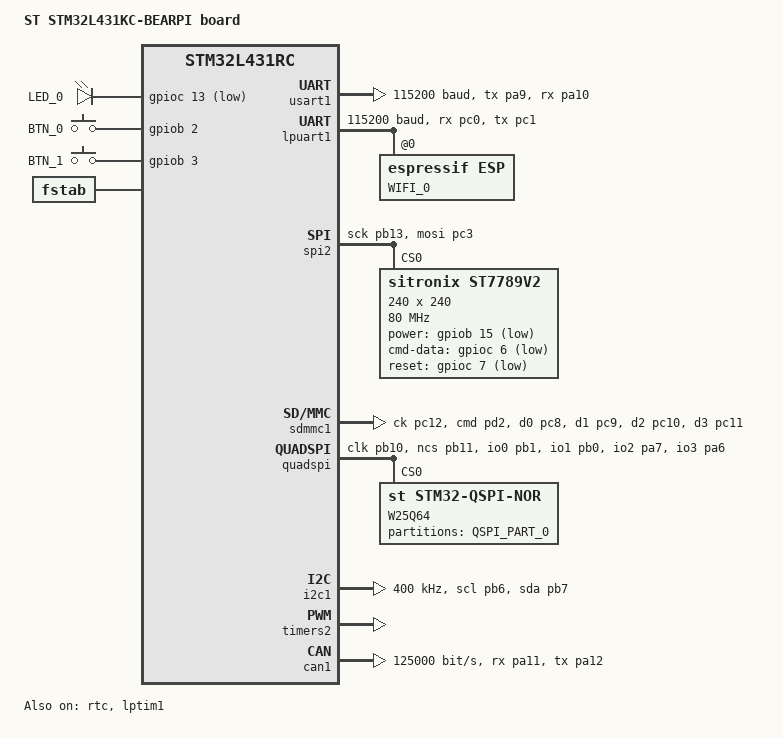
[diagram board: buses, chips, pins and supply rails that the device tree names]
/*
 * Copyright (c) 2017 Linaro Limited
 *
 * SPDX-License-Identifier: Apache-2.0
 */

/dts-v1/;
#include <st/l4/stm32l431Rc.dtsi>
#include <st/l4/stm32l431r(b-c)tx-pinctrl.dtsi>

/ {
	model = "ST STM32L431KC-BEARPI board";
	compatible = "st,stm32l431rc-bearpi";

	chosen {
		zephyr,console = &usart1;
		zephyr,shell-uart = &usart1;
		zephyr,sram = &sram0;
		zephyr,flash = &flash0;
		zephyr,can-primary = &can1;
	};

	leds {
		compatible = "gpio-leds";
		blue_led: led_0 {
			gpios = <&gpioc 13 GPIO_ACTIVE_LOW>;
			status = "okay";
			label = "LED_0";
		};
	};
	
	buttons {
		compatible = "gpio-keys";
		key0: key_0 {
			gpios = <&gpiob 2 GPIO_ACTIVE_HIGH>;
			status = "okay";
			label = "BTN_0";
		};
		key1: key_1 {
			gpios = <&gpiob 3 GPIO_ACTIVE_HIGH>;
			status = "okay";
			label = "BTN_1";
		};
	};
	
	fstab { 
                compatible = "zephyr,fstab";
                lfs0: littlefs {
                        compatible = "zephyr,fstab,littlefs";
                        mount-point = "/qspi";
                        partition = <&qspi_part0>;
                        automount;
                        read-size = <16>;
                        prog-size = <16>;
                        cache-size = <64>;
                        lookahead-size = <32>;
                        block-cycles = <512>;
                };
        };

	aliases {
		led0 = &blue_led;
		btn0 = &key0;
		btn1 = &key1;
	};
};

&dma1 {
	status = "okay";
};

&usart1 {
	pinctrl-0 = <&usart1_tx_pa9 &usart1_rx_pa10>;
	current-speed = <115200>;
	status = "okay";
};

&lpuart1 {
	pinctrl-0 = <&lpuart1_rx_pc0 &lpuart1_tx_pc1>;
	current-speed = <115200>;
	parity = <0>;
	status = "okay";
	wifi0: wifi@0 {
		compatible = "espressif,esp";
		label = "WIFI_0";
	};
};

&spi2 {
	pinctrl-0 = <&spi2_sck_pb13 &spi2_mosi_pc3>;
	dmas = <&dma1 5 1 0x20440 0x00>, <&dma1 4 1 0x20480 0x00>; 
    dma-names = "tx", "rx";
	status = "okay";

	/* Sitronix ST7789V LCD */
	st7789v2: st7789v2@0 {
		compatible = "sitronix,st7789v2";
		reg = <0x0>;
		spi-max-frequency = <80000000>; /* 10MHz */
		label = "ST7789V2";
		power-gpios = <&gpiob 15 GPIO_ACTIVE_LOW>;   /* DET */
		cmd-data-gpios = <&gpioc 6 GPIO_ACTIVE_LOW>;   /* DET */
		reset-gpios = <&gpioc 7 GPIO_ACTIVE_LOW>;      /* RESX reset */
		width = <240>;
		height = <240>;
		x-offset = <0>;
		y-offset = <0>;
		mdac = <0x00>;
		colmod = <0x65>;
		porch-param = [0c 0c 00 33 33];
		gctrl = <0x72>;
		vcom = <0x3d>;
		lcm = <0x2c>;
		vrhs = <0x19>;
		vdvs = <0x20>;
		pwctrl1-param = [a4 a1];
		pvgam-param = [D0 04 0D 11 13 2B 3F 54 4C 18 0D 0B 1F 23];
		nvgam-param = [D0 04 0C 11 13 2C 3F 44 51 2F 1F 1F 20 23];
	};
	
};

&sdmmc1 {
	pinctrl-0 = <&sdmmc1_ck_pc12 &sdmmc1_cmd_pd2 
		&sdmmc1_d0_pc8 &sdmmc1_d1_pc9 
		&sdmmc1_d2_pc10 &sdmmc1_d3_pc11>;
	/*
	cd-gpios = <&gpiob 15 GPIO_ACTIVE_LOW>;
	pwr-gpios = <&gpiob 15 GPIO_ACTIVE_LOW>;
	*/
	status = "okay";
};

&quadspi {
	pinctrl-0 = <&quadspi_clk_pb10 &quadspi_bk1_ncs_pb11
				 &quadspi_bk1_io0_pb1 &quadspi_bk1_io1_pb0
				 &quadspi_bk1_io2_pa7 &quadspi_bk1_io3_pa6>;
	/*
	dmas = <&dma1 1 3 0 0x03>;
	dma-names = "tx_rx";
	*/

	status = "okay";

	w25q64: qspi-nor-flash@0 {
		compatible = "st,stm32-qspi-nor";
		label = "W25Q64";
		reg = <0>;
		qspi-max-frequency = <40000000>;
		/* 64 Megabits = 8 Megabytes */
		size = <0x4000000>;
		status = "okay";

		partitions {
			compatible = "fixed-partitions";
			#address-cells = <1>;
			#size-cells = <1>;

			qspi_part0: partition@0 {
				label = "QSPI_PART_0";
				reg = <0x00000000 DT_SIZE_M(8)>;
			};
		};
	};
};

&i2c1 {
	pinctrl-0 = <&i2c1_scl_pb6 &i2c1_sda_pb7>;
	clock-frequency = <I2C_BITRATE_FAST>;
	status = "okay";
};

&timers2 {
	status = "okay";

	pwm2: pwm {
		status = "okay";
		pinctrl-0 = <&tim2_ch1_pa0>;
	};
};

&can1 {
	pinctrl-0 = <&can1_rx_pa11 &can1_tx_pa12>;
	bus-speed = <125000>;
	status = "okay";
};

&rtc {
	status = "okay";
};

&lptim1 {
	status = "okay";
};

&flash0 {
	partitions {
		compatible = "fixed-partitions";
		#address-cells = <1>;
		#size-cells = <1>;

		/*
		 * Reserve the final 16 KiB for file system partition
		 */
		storage_partition: partition@3c000 {
			label = "storage";
			reg = <0x0003c000 0x00004000>;
		};
	};
};
